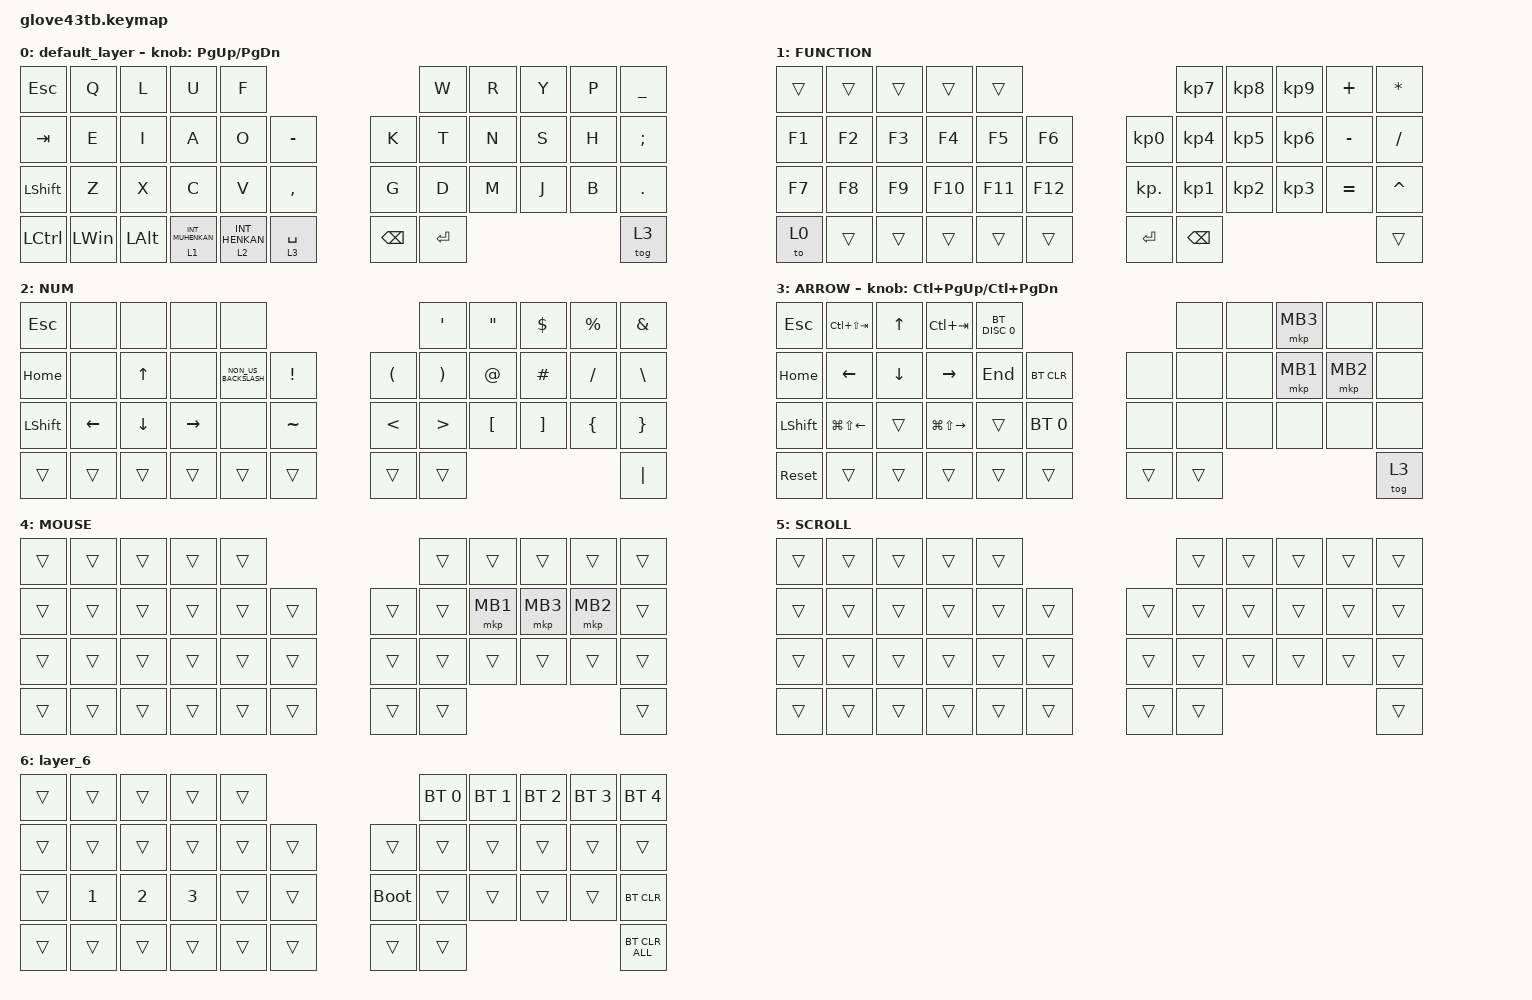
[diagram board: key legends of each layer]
#include <behaviors.dtsi>
#include <dt-bindings/zmk/bt.h>
#include <dt-bindings/zmk/keys.h>
#include <dt-bindings/zmk/pointing.h>

&mt {
    flavor = "balanced";
    quick-tap-ms = <0>;
};

&trackball {
    automouse-layer = <4>;
    scroll-layers = <5>;

    // arrows {
    //     layers = <3>;
    //     bindings =
    //         <&kp RIGHT_ARROW>,
    //         <&kp LEFT_ARROW>,
    //         <&kp UP_ARROW>,
    //         <&kp DOWN_ARROW>;
    //     tick = <10>;
    //     wait-ms = <5>;
    //     tap-ms = <5>;
    // };
};

/ {
    combos {
        compatible = "zmk,combos";

        tab {
            bindings = <&kp TAB>;
            key-positions = <11 12>;
        };

        shift_tab {
            bindings = <&kp LS(TAB)>;
            key-positions = <12 13>;
        };

        muhennkann {
            bindings = <&to_layer_0 INT_MUHENKAN>;
            key-positions = <11 10>;
        };

        double_quotation {
            bindings = <&kp DOUBLE_QUOTES>;
            key-positions = <20 21>;
        };

        eq {
            bindings = <&kp EQUAL>;
            key-positions = <24 25>;
        };
    };

    macros {
        to_layer_0: to_layer_0 {
            compatible = "zmk,behavior-macro-one-param";
            #binding-cells = <1>;
            bindings = <&to 0 &macro_param_1to1 &kp MACRO_PLACEHOLDER>;
            label = "TO_LAYER_0";
        };
    };

    behaviors {
        lt_to_layer_0: lt_to_layer_0 {
            compatible = "zmk,behavior-hold-tap";
            label = "LAYER_TAP_TO_0";
            bindings = <&mo>, <&to_layer_0>;

            #binding-cells = <2>;
            tapping-term-ms = <200>;
        };
    };

    keymap {
        compatible = "zmk,keymap";

        default_layer {
            bindings = <
&kp ESC         &kp Q         &kp L         &kp U               &kp F                                                        &kp W      &kp R  &kp Y  &kp P  &kp UNDERSCORE
&kp TAB         &kp E         &kp I         &kp A               &kp O             &kp MINUS                   &kp K          &kp T      &kp N  &kp S  &kp H  &kp SEMICOLON
&kp LEFT_SHIFT  &kp Z         &kp X         &kp C               &kp V             &kp COMMA                   &kp G          &kp D      &kp M  &kp J  &kp B  &kp DOT
&kp LCTRL       &kp LEFT_WIN  &kp LEFT_ALT  &lt 1 INT_MUHENKAN  &lt 2 INT_HENKAN  &lt_to_layer_0 3 SPACE      &kp BACKSPACE  &kp ENTER                       &tog 3
            >;

            sensor-bindings = <&inc_dec_kp PG_UP PAGE_DOWN>;
        };

        FUNCTION {
            bindings = <
&trans  &trans  &trans  &trans   &trans                                 &kp KP_NUMBER_7  &kp KP_NUMBER_8  &kp KP_NUMBER_9  &kp PLUS   &kp ASTERISK
&kp F1  &kp F2  &kp F3  &kp F4   &kp F5   &kp F6       &kp KP_NUMBER_0  &kp KP_NUMBER_4  &kp KP_NUMBER_5  &kp KP_NUMBER_6  &kp MINUS  &kp SLASH
&kp F7  &kp F8  &kp F9  &kp F10  &kp F11  &kp F12      &kp KP_DOT       &kp KP_NUMBER_1  &kp KP_NUMBER_2  &kp KP_NUMBER_3  &kp EQUAL  &kp CARET
&to 0   &trans  &trans  &trans   &trans   &trans       &kp ENTER        &kp BACKSPACE                                                 &trans
            >;
        };

        NUM {
            bindings = <
&kp ESCAPE      &none           &none           &none            &none                                                            &kp SINGLE_QUOTE       &kp DOUBLE_QUOTES  &kp DOLLAR         &kp PERCENT     &kp AMPS
&kp HOME        &none           &kp UP_ARROW    &none            &kp NON_US_BACKSLASH  &kp EXCLAMATION      &kp LEFT_PARENTHESIS  &kp RIGHT_PARENTHESIS  &kp AT_SIGN        &kp HASH           &kp SLASH       &kp BACKSLASH
&kp LEFT_SHIFT  &kp LEFT_ARROW  &kp DOWN_ARROW  &kp RIGHT_ARROW  &none                 &kp TILDE            &kp LESS_THAN         &kp GREATER_THAN       &kp LEFT_BRACKET   &kp RIGHT_BRACKET  &kp LEFT_BRACE  &kp RIGHT_BRACE
&trans          &trans          &trans          &trans           &trans                &trans               &trans                &trans                                                                       &kp PIPE
            >;
        };

        ARROW {
            bindings = <
&kp ESCAPE      &kp LC(LS(TAB))         &kp UP_ARROW    &kp LC(TAB)              &bt BT_DISC 0                            &none   &none  &mkp MB3  &none     &none
&kp HOME        &kp LEFT_ARROW          &kp DOWN_ARROW  &kp RIGHT_ARROW          &kp END        &bt BT_CLR        &none   &none   &none  &mkp MB1  &mkp MB2  &none
&kp LEFT_SHIFT  &kp LG(LS(LEFT_ARROW))  &trans          &kp LG(LS(RIGHT_ARROW))  &trans         &bt BT_SEL 0      &none   &none   &none  &none     &none     &none
&sys_reset      &trans                  &trans          &trans                   &trans         &trans            &trans  &trans                             &tog 3
            >;

            sensor-bindings = <&inc_dec_kp LC(PAGE_UP) LC(PAGE_DOWN)>;
        };

        MOUSE {
            bindings = <
&trans  &trans  &trans  &trans  &trans                      &trans  &trans    &trans    &trans    &trans
&trans  &trans  &trans  &trans  &trans  &trans      &trans  &trans  &mkp MB1  &mkp MB3  &mkp MB2  &trans
&trans  &trans  &trans  &trans  &trans  &trans      &trans  &trans  &trans    &trans    &trans    &trans
&trans  &trans  &trans  &trans  &trans  &trans      &trans  &trans                                &trans
            >;
        };

        SCROLL {
            bindings = <
&trans  &trans  &trans  &trans  &trans                      &trans  &trans  &trans  &trans  &trans
&trans  &trans  &trans  &trans  &trans  &trans      &trans  &trans  &trans  &trans  &trans  &trans
&trans  &trans  &trans  &trans  &trans  &trans      &trans  &trans  &trans  &trans  &trans  &trans
&trans  &trans  &trans  &trans  &trans  &trans      &trans  &trans                          &trans
            >;
        };

        layer_6 {
            bindings = <
&trans  &trans        &trans        &trans        &trans                           &bt BT_SEL 0  &bt BT_SEL 1  &bt BT_SEL 2  &bt BT_SEL 3  &bt BT_SEL 4
&trans  &trans        &trans        &trans        &trans  &trans      &trans       &trans        &trans        &trans        &trans        &trans
&trans  &kp NUMBER_1  &kp NUMBER_2  &kp NUMBER_3  &trans  &trans      &bootloader  &trans        &trans        &trans        &trans        &bt BT_CLR
&trans  &trans        &trans        &trans        &trans  &trans      &trans       &trans                                                  &bt BT_CLR_ALL
            >;
        };
    };
};
